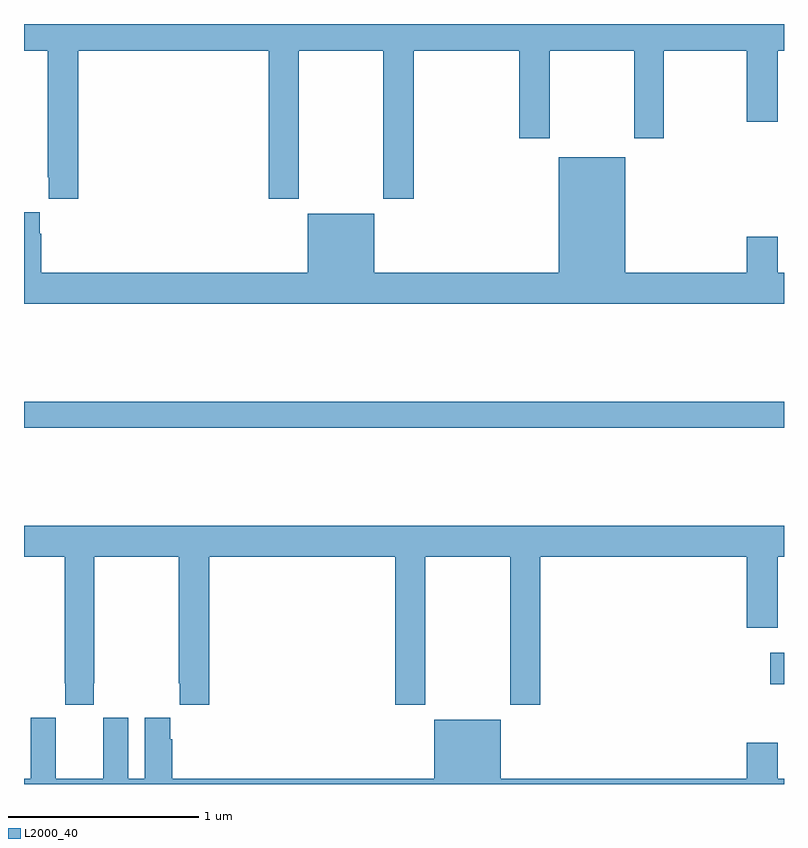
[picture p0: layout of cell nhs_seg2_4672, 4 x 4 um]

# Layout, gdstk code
import gdstk
lib = gdstk.Library(unit=1e-6, precision=1e-09)
def R(c, l, rs):  # rectangles x0, y0, x1, y1
    for r in rs: c.add(gdstk.rectangle(r[:2], r[2:], *l))
def P(c, l, *ps):  # polygons
    for p in ps: c.add(gdstk.Polygon(p, *l))
L2000_40 = (2000, 40)

nhs_seg2_4672 = lib.new_cell('nhs_seg2_4672')
R(nhs_seg2_4672, L2000_40, [(368.928,620.326,369,620.491), (365,621.676,369,621.812)])
P(nhs_seg2_4672, L2000_40, [(366.287,622.881),(366.447,622.881),(366.447,623.66),(366.892,623.66),(366.892,622.881),(367.052,622.881),(367.052,623.66),(367.607,623.66),(367.607,623.199),(367.767,623.199),(367.767,623.66),(368.212,623.66),(368.212,623.199),(368.367,623.199),(368.367,623.66),(368.804,623.66),(368.804,623.286),(368.968,623.286),(368.968,623.66),(369,623.66),(369,623.8),(365,623.8),(365,623.66),(365.125,623.66),(365.125,622.993),(365.129,622.993),(365.129,622.881),(365.285,622.881),(365.285,623.66),(366.287,623.66)],
  [(369,622.492),(368.968,622.492),(368.968,622.681),(368.804,622.681),(368.804,622.492),(368.164,622.492),(368.164,623.098),(367.814,623.098),(367.814,622.492),(366.844,622.492),(366.844,622.801),(366.494,622.801),(366.494,622.492),(365.09,622.492),(365.09,622.697),(365.083,622.697),(365.083,622.81),(365,622.81),(365,622.328),(369,622.328)],
  [(365.367,620.329),(365.37,620.329),(365.37,620.996),(365.815,620.996),(365.815,620.329),(365.821,620.329),(365.821,620.217),(365.975,620.217),(365.975,620.996),(366.953,620.996),(366.953,620.217),(367.113,620.217),(367.113,620.996),(367.558,620.996),(367.558,620.217),(367.718,620.217),(367.718,620.996),(368.804,620.996),(368.804,620.622),(368.968,620.622),(368.968,620.996),(369,620.996),(369,621.16),(365,621.16),(365,620.996),(365.215,620.996),(365.215,620.329),(365.217,620.329),(365.217,620.217),(365.367,620.217)],
  [(369,619.828),(368.968,619.828),(368.968,620.017),(368.804,620.017),(368.804,619.828),(367.51,619.828),(367.51,620.137),(367.16,620.137),(367.16,619.828),(365.78,619.828),(365.78,620.036),(365.77,620.036),(365.77,620.149),(365.636,620.149),(365.636,619.828),(365.548,619.828),(365.548,620.149),(365.418,620.149),(365.418,620.036),(365.417,620.036),(365.417,619.828),(365.167,619.828),(365.167,620.036),(365.166,620.036),(365.166,620.149),(365.036,620.149),(365.036,619.828),(365,619.828),(365,619.8),(369,619.8)])

lib.write_gds('nhs_seg2_4672.gds')
